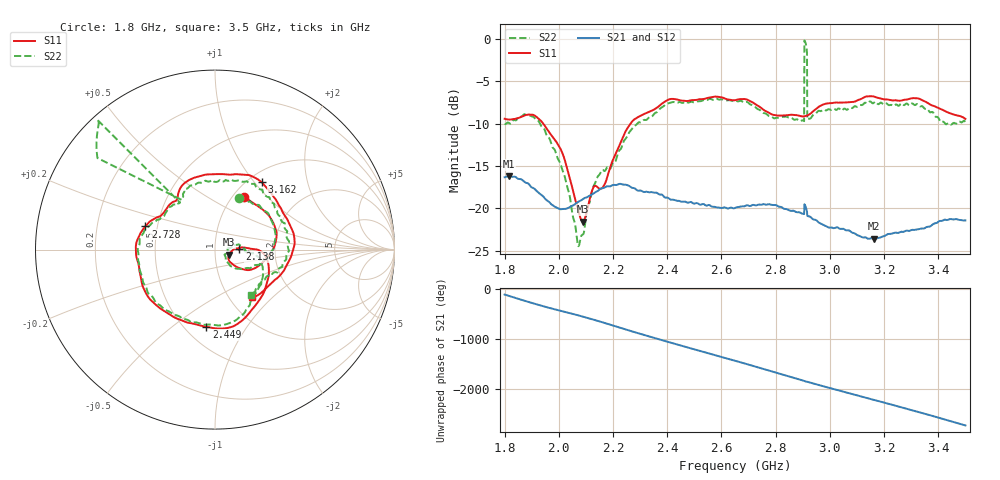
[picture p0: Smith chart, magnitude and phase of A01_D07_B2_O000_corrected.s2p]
! Created with skrf 1.9.0 (http://scikit-rf.org).
# Hz S RI R 50.0
!freq ReS11 ImS11 ReS21 ImS21 ReS12 ImS12 ReS22 ImS22
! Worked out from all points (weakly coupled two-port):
!   1601 points, 1.8 GHz to 3.5 GHz, reference 50 ohm
!   highest |S21| = -16.23 dB at 1.815 GHz (marker M1); lowest = -23.6 dB at 3.163 GHz (marker M2)
!   lowest |S11| = -21.6 dB at 2.09 GHz (marker M3), VSWR 1.18, Z = 58.4 - j3.43 ohm
!   |S11| at or under -10 dB: 1.943 GHz to 2.264 GHz (321.7 MHz wide, 15.3 % of centre)
!   |S22| runs from -24.5 to -0.2 dB; largest |S21 - S12| = 0.0031
!   S11 on the Smith chart (normalised r, x): 1.8 GHz: 1.12, +0.75; 2.138 GHz: 1.31, +0.01; 2.449 GHz: 0.63, -0.67; 2.728 GHz: 0.43, +0.13; 3.162 GHz: 1.15, +1.09; 3.5 GHz: 1.27, -0.76
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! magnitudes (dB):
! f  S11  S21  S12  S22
! 1.8 GHz  -9.4  -16.3  -16.3  -10.0
! 1.815 GHz  -9.5  -16.2  -16.2  -9.9
! 1.943 GHz  -10.0  -18.6  -18.6  -10.5
! 2.014 GHz  -13.5  -20.1  -20.1  -15.5
! 2.069 GHz  -19.9  -19.3  -19.3  -24.1
! 2.084 GHz  -21.4  -19.0  -19.0  -23.2
! 2.09 GHz  -21.6  -18.9  -18.9  -23.0
! 2.138 GHz  -17.4  -18.1  -18.0  -16.7
! 2.266 GHz  -9.9  -17.5  -17.5  -10.8
! 2.367 GHz  -8.0  -18.3  -18.2  -8.5
! 2.449 GHz  -7.3  -19.2  -19.2  -7.5
! 2.65 GHz  -7.2  -20.0  -19.9  -7.3
! 2.728 GHz  -7.8  -19.7  -19.7  -8.1
! 2.897 GHz  -9.1  -20.6  -20.6  -9.6
! 2.907 GHz  -9.1  -19.6  -19.5  -0.2
! 2.915 GHz  -9.1  -20.2  -20.3  -1.3
! 2.925 GHz  -8.9  -21.0  -21.0  -9.4
! 2.934 GHz  -8.7  -21.2  -21.2  -9.2
! 3.162 GHz  -6.8  -23.6  -23.6  -7.6
! 3.163 GHz  -6.8  -23.6  -23.6  -7.5
! 3.217 GHz  -7.2  -23.0  -23.0  -7.8
! 3.5 GHz  -9.4  -21.4  -21.4  -9.8
